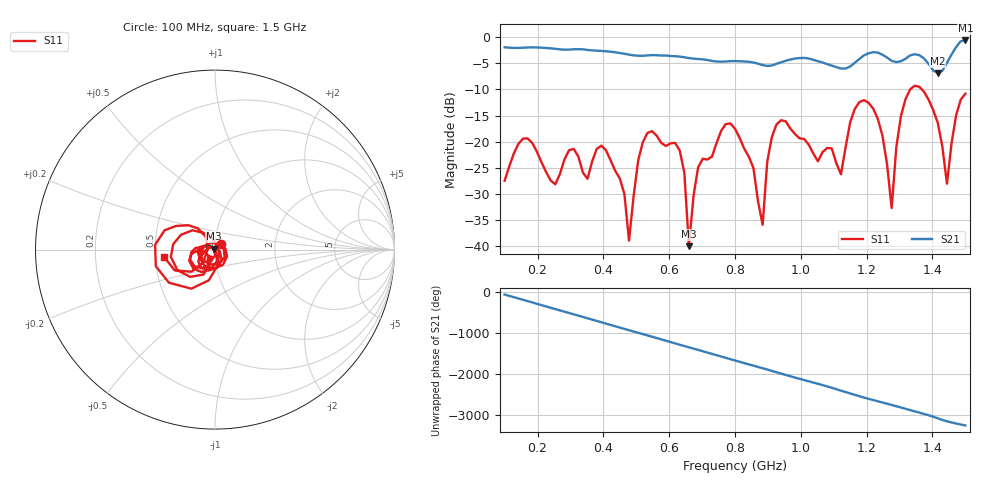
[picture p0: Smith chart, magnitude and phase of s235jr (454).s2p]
! NanoVNA-App
! Date: 2025-09-25 15:07:41
! Start: 100MHz Stop: 1,5GHz Points: 101
! S-Parameter data: F S11 S21 S12 S22
# Hz S RI R 50
!  Frequency  S11_Real  S11_Imag  S21_Real  S21_Imag  S12_Real  S12_Imag  S22_Real  S22_Imag
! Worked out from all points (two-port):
!   101 points, 100 MHz to 1.5 GHz, reference 50 ohm
!   highest |S21| = -0.66 dB at 1.5 GHz (marker M1); lowest = -6.9 dB at 1.416 GHz (marker M2)
!   |S21| within 3 dB of the highest: start of sweep to 614.4 MHz; 1.189 GHz to 1.255 GHz (66.28 MHz wide, 5.42 % of centre) (the widest 2 of 4)
!   lowest |S11| = -40.0 dB at 660 MHz (marker M3), VSWR 1.02, Z = 49.2 + j0.582 ohm
!   |S11| at or under -10 dB: start of sweep to 1.332 GHz; 1.367 GHz to end of sweep
!   S12 and S22 are empty: the file has one direction only
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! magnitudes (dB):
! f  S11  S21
! 100 MHz  -27.5  -2.0
! 156 MHz  -19.4  -2.0
! 338 MHz  -25.9  -2.4
! 408 MHz  -21.6  -2.7
! 478 MHz  -38.9  -3.4
! 520 MHz  -20.1  -3.6
! 576 MHz  -20.2  -3.5
! 632 MHz  -21.7  -3.7
! 660 MHz  -40.0  -4.0
! 688 MHz  -24.9  -4.2
! 800 MHz  -17.5  -4.6
! 884 MHz  -35.9  -5.4
! 926 MHz  -16.7  -5.1
! 1.038 GHz  -22.3  -4.3
! 1.122 GHz  -26.2  -6.0
! 1.206 GHz  -12.6  -3.1
! 1.276 GHz  -32.7  -4.6
! 1.304 GHz  -15.2  -4.6
! 1.332 GHz  -10.0  -3.5
! 1.416 GHz  -16.4  -6.9
! 1.444 GHz  -28.0  -4.9
! 1.5 GHz  -10.8  -0.7
